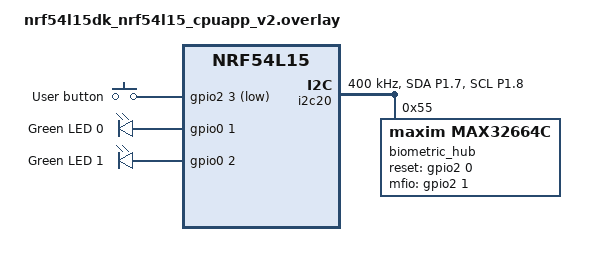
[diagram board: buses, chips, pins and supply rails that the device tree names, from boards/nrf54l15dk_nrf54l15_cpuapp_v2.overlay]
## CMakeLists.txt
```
cmake_minimum_required(VERSION 3.20.0)

file(GLOB_RECURSE files RELATIVE ${CMAKE_SOURCE_DIR} "patches/zephyr/*.patch")
foreach(file ${files})
    message("Checking patch ${file}")
    # Check if patch is already applied using dry-run
    execute_process(COMMAND
                    patch -p1 -d $ENV{ZEPHYR_BASE} -i ${CMAKE_CURRENT_SOURCE_DIR}/${file} --dry-run --reverse --force
                    RESULT_VARIABLE patch_applied
                    OUTPUT_QUIET
                    ERROR_QUIET)

    if(patch_applied EQUAL 0)
        message("Patch ${file} already applied, skipping")
    else()
        message("Applying patch ${file}")
        execute_process(COMMAND
                        patch -p1 -d $ENV{ZEPHYR_BASE} -i ${CMAKE_CURRENT_SOURCE_DIR}/${file} -r - --no-backup-if-mismatch)
    endif()
endforeach()

find_package(Zephyr REQUIRED HINTS $ENV{ZEPHYR_BASE})

project(HR)

target_include_directories(app PRIVATE drivers)
target_include_directories(app PRIVATE src/firmware)

add_subdirectory(drivers)

target_sources(app PRIVATE src/main.c)
```

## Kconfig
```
menu "Zephyr Kernel"
    source "Kconfig.zephyr"
endmenu

menu "ZSWatch-MAX32664C"
    menu "Custom drivers"
        rsource "drivers/Kconfig"
    endmenu
endmenu
```

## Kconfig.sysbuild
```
source "share/sysbuild/Kconfig"

config NRF_DEFAULT_IPC_RADIO
    default y

config NETCORE_IPC_RADIO_BT_HCI_IPC
    default y
```

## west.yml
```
manifest:
  self:
    west-commands: scripts/west-commands.yml

  remotes:
    - name: sdk
      url-base: https://github.com/nrfconnect

  projects:
    - name: sdk-nrf
      remote: sdk
      revision: v3.0.2
      path: nrf
      import:
        name-blocklist:
          - ci-tools
          - hal_altera
          - hal_cypress
          - hal_infineon
          - hal_microchip
          - hal_nxp
          - hal_openisa
          - hal_silabs
          - hal_xtensa
          - hal_ti
          - loramac-node
          - net-tools
          - edtt
          - trusted-firmware-m
          - sof
      clone-depth: 1

  self:
    west-commands: scripts/west-commands.yml
```

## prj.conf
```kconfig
CONFIG_CLOCK_CONTROL=y
CONFIG_CLOCK_CONTROL_NRF_K32SRC_RC=y

CONFIG_SENSOR=y

CONFIG_I2C=y

CONFIG_HEAP_MEM_POOL_SIZE=32768

CONFIG_BT=y
CONFIG_BT_SMP=y
CONFIG_BT_PERIPHERAL=y
CONFIG_BT_DIS=y
CONFIG_BT_DIS_PNP=n
CONFIG_BT_BAS=y
CONFIG_BT_HRS=y
CONFIG_BT_DEVICE_NAME="Zephyr Heartrate Sensor"
CONFIG_BT_DEVICE_APPEARANCE=833
CONFIG_BT_GATT_CLIENT=y
CONFIG_BT_BUF_ACL_TX_SIZE=251
CONFIG_BT_BUF_ACL_RX_SIZE=251
CONFIG_BT_L2CAP_TX_MTU=247
CONFIG_BT_DATA_LEN_UPDATE=y
CONFIG_BT_GATT_CACHING=y
CONFIG_BT_CTLR_TX_PWR_PLUS_7=y

CONFIG_SETTINGS=y
CONFIG_BT_SETTINGS=y
CONFIG_FLASH=y
CONFIG_FLASH_PAGE_LAYOUT=y
CONFIG_FLASH_MAP=y
CONFIG_ZMS=y
CONFIG_PM_PARTITION_SIZE_SETTINGS_STORAGE=0x8000

CONFIG_USE_SEGGER_RTT=y
CONFIG_LOG_BACKEND_RTT=y
CONFIG_LOG_BACKEND_RTT_MODE_BLOCK=y
CONFIG_LOG_BUFFER_SIZE=15000
CONFIG_LOG_BACKEND_BLE=y
CONFIG_LOG_PROCESS_THREAD_STACK_SIZE=2048
CONFIG_LOG_BACKEND_RTT_OUTPUT_BUFFER_SIZE=256

CONFIG_CONSOLE=y
CONFIG_UART_CONSOLE=n
CONFIG_SERIAL=n

CONFIG_LOG_PRINTK=y
CONFIG_LOG=y
CONFIG_LOG_BUFFER_SIZE=4096
CONFIG_LOG_INFO_COLOR_GREEN=y
CONFIG_DEBUG_OPTIMIZATIONS=y

CONFIG_SENSOR_LOG_LEVEL_DBG=y

CONFIG_MAX32664C_USE_STATIC_MEMORY=y
CONFIG_MAX32664C_USE_EXTENDED_REPORTS=y
CONFIG_MAX32664C_USE_FIRMWARE_LOADER=y
```

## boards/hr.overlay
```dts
/ {
    aliases {
        sensor = &biometric_hub;
    };
};

&i2c1 {
    compatible = "nordic,nrf-twim";
    status = "okay";
    clock-frequency = <400000>;
    zephyr,flash-buf-max-size = <8250>;
};

&i2c1 {
    biometric_hub: max32664c@55 {
        compatible = "maxim,max32664c";
        reg = <0x55>;
        status = "okay";
        reset-gpios = <&gpio0 8 GPIO_ACTIVE_HIGH>;
        mfio-gpios = <&gpio1 9 GPIO_ACTIVE_HIGH>;
        motion-time = <200>;
        motion-threshold = <500>;
        hr-config = [00 11];
        spo2-config = [10 20];
    };
};
```

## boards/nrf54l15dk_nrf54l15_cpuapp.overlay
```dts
&pinctrl {
	i2c30_default: i2c30_default {
		group1 {
			psels = <NRF_PSEL(TWIM_SDA, 0, 4)>,
					<NRF_PSEL(TWIM_SCL, 0, 3)>;
					bias-pull-up;
		};
	};

	i2c30_sleep: i2c30_sleep {
		group1 {
			psels = <NRF_PSEL(TWIM_SDA, 0, 4)>,
					<NRF_PSEL(TWIM_SCL, 0, 3)>;
					low-power-enable;
		};
	};
};

/ {
	aliases {
		sensor = &biometric_hub;
	};
};

&led0 {
	gpios = <&gpio2 6 GPIO_ACTIVE_HIGH>;
		label = "Green LED 0";
};


&i2c30 {
	compatible = "nordic,nrf-twim";
	status = "okay";
	clock-frequency = <I2C_BITRATE_FAST>;

	// Flash buffer size is needed for the I2C bootloader to flash the firmware
	zephyr,flash-buf-max-size = <8250>;

	pinctrl-0 = <&i2c30_default>;
	pinctrl-1 = <&i2c30_sleep>;
	pinctrl-names = "default", "sleep";

	biometric_hub: max32664c@55 {
		compatible = "maxim,max32664c";
		reg = <0x55>;
		status = "okay";
		reset-gpios = <&gpio2 0 GPIO_ACTIVE_HIGH>;
		mfio-gpios = <&gpio2 1 GPIO_ACTIVE_HIGH>;
		hr-config = [00 11];
		spo2-config = [10 20];
		led-current = [3F 3F 3F];
		use-max86141;
	};
};

&dppic10 {
	status = "okay";
};

&ppib11 {
	status = "okay";
};

&ppib21 {
	status = "okay";
};

&dppic20 {
	status = "okay";
};

&ppib22 {
	status = "okay";
};

&ppib30 {
	status = "okay";
};

&dppic30 {
	status = "okay";
};
```

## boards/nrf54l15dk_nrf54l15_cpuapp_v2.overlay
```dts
&pinctrl {
	i2c20_default: i2c20_default {
		group1 {
			psels = <NRF_PSEL(TWIM_SDA, 1, 7)>,
					<NRF_PSEL(TWIM_SCL, 1, 8)>;
					bias-pull-up;
		};
	};

	i2c20_sleep: i2c20_sleep {
		group1 {
			psels = <NRF_PSEL(TWIM_SDA, 1, 7)>,
					<NRF_PSEL(TWIM_SCL, 1, 8)>;
					low-power-enable;
		};
	};
};

/ {
	aliases {
		sensor = &biometric_hub;
		sw0 = &button0;
	};

	buttons {
		compatible = "gpio-keys";
		button0: button_0 {
			gpios = <&gpio2 3 (GPIO_PULL_UP | GPIO_ACTIVE_LOW)>;
			label = "User button";
		};
	};
};

&led0 {
	gpios = <&gpio0 1 GPIO_ACTIVE_HIGH>;
		label = "Green LED 0";
};

&led1 {
	gpios = <&gpio0 2 GPIO_ACTIVE_HIGH>;
		label = "Green LED 1";
};

&i2c30 {
	status = "disabled";
};


&i2c20 {
	compatible = "nordic,nrf-twim";
	status = "okay";
	clock-frequency = <I2C_BITRATE_FAST>;

	// Flash buffer size is needed for the I2C bootloader to flash the firmware
	zephyr,flash-buf-max-size = <8250>;

	pinctrl-0 = <&i2c20_default>;
	pinctrl-1 = <&i2c20_sleep>;
	pinctrl-names = "default", "sleep";

	biometric_hub: max32664c@55 {
		compatible = "maxim,max32664c";
		reg = <0x55>;
		status = "okay";
		reset-gpios = <&gpio2 0 GPIO_ACTIVE_HIGH>;
		mfio-gpios = <&gpio2 1 GPIO_ACTIVE_HIGH>;
		hr-config = [00 01];
		spo2-config = [11 21];
		led-current = [1F 1F 1F];
		use-max86141;
	};
};
```

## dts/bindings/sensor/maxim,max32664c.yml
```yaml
description: |
  The MAX32664 is a ultra-low power biometric sensor hub.

  NOTES:
  This driver is primarily written to work with a MAX86141. Other sensors can be
  used but they are untested! The driver supports up to two photodetectors (PDs)
  and three LEDs fix. It requires a specific LED
  configuration for the MAX86141.
    LED1 -> Green
    LED2 -> IR
    LED3 -> Red
  The LEDs can be changed manually but this may require changes in the driver.

  This driver is tested with Sensor Hub firmware 30.13.31 and an external
  Accelerometer (e.g. LIS2DH12).

  See more info at:
  https://www.analog.com/media/en/technical-documentation/data-sheets/MAX32664.pdf

compatible: "maxim,max32664c"

include: [sensor-device.yaml, i2c-device.yaml]

properties:
  reset-gpios:
    type: phandle-array
    required: true
    description:
      External System Reset (Active-Low) Input.

  mfio-gpios:
    type: phandle-array
    required: true
    description:
      MFIO asserts low as an output when the sensor hub needs to
      communication with the host; MFIO acts as an input and when held
      low during a reset, the sensor hub enters bootloader mode.

  motion-time:
    type: int
    default: 200
    description:
      Sensor Hub configuration - Motion activation time in milliseconds.
      The default corresponds to Table 12 in the HR and SpO2 User guide.

  motion-threshold:
    type: int
    default: 500
    description:
      Sensor Hub configuration - Motion activation time in milli-g.
      The default corresponds to Table 12 in the HR and SpO2 User guide.

  spo2-calib:
    type: array
    default: [0xFFE69196, 0x000CB735, 0x00989680]
    description:
      Algorithm configuration - SpO2 calibration coefficients.
      The default corresponds to Table 12 in the HR and SpO2 User guide.

  min-integration-time:
    type: int
    default: 14
    enum:
      - 14
      - 29
      - 58
      - 117
    description:
      Algorithm configuration - Minimum integration time in microseconds.
      The default corresponds to Table 11 in the HR and SpO2 User guide.

  min-sampling-rate:
    type: int
    default: 50
    enum:
      - 25
      - 50
      - 100
      - 200
      - 400
    description:
      Algorithm configuration - Minimum sampling rate (samples per second)
      and averaging (samples).
      The default corresponds to Table 11 in the HR and SpO2 User guide.

  max-integration-time:
    type: int
    default: 117
    enum:
      - 14
      - 29
      - 58
      - 117
    description:
      Algorithm configuration - Maximum integration time in microseconds.
      The default corresponds to Table 11 in the HR and SpO2 User guide.

  max-sampling-rate:
    type: int
    default: 100
    enum:
      - 25
      - 50
      - 100
      - 200
      - 400
    description:
      Algorithm configuration - Maximum sampling rate (samples per second)
      and averaging (samples).
      The default corresponds to Table 11 in the HR and SpO2 User guide.

  use-max86141:
    type: boolean
    description:
      Use the MAX86141 as the AFE for the MAX32664C. This is the
      default and recommended configuration. The driver is optimized for
      this sensor..

  use-max86161:
    type: boolean
    description:
      Use the MAX86161 as the AFE for the MAX32664C.

  use-skin-contact-detection:
    type: boolean
    description:
      Enable skin contact detection. If enabled, the sensor will only
      report data when skin contact is detected. This is useful to
      prevent false readings when the sensor is not in contact with the skin.

  led-current:
    type: uint8-array
    default: [0x7F, 0x7F, 0x7F]
    description:
      Initial LED current configuration in bits. Please check the datasheet
      of the attached AFE to determine the appropriate values.
      The current can also be changed later by the firmware.
      Index 0 corresponds to LED1, index 1 to LED2, and index 2 to LED3.
      The default corresponds to Table 5 in the HR and SpO2 User guide.

  hr-config:
    type: uint8-array
    default: [0x00, 0x01]
    description:
      Algorithm configuration - LED and PD configuration for the heartrate measurement.
      The first entry configures channel 1, the second channel 2.
      The default corresponds to Table 15 in the HR and SpO2 User guide.

  spo2-config:
    type: uint8-array
    default: [0x10, 0x20]
    description:
      Algorithm configuration - LED and PD configuration for the SpO2 measurement.
      The first entry configures the IR channel, the second the red channel.
      The default corresponds to Table 15 in the HR and SpO2 User guide.
```

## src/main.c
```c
/*
* Copyright (c) 2025, Daniel Kampert
*
* This example demonstrates the use of the MAX32664C sensor hub with Zephyr.
* It includes Bluetooth Low Energy (BLE) services for heart rate and battery
* monitoring.
*
* SPDX-License-Identifier: Apache-2.0
*/

#include <zephyr/kernel.h>
#include <zephyr/devicetree.h>
#include <zephyr/logging/log.h>
#include <zephyr/drivers/gpio.h>
#include <zephyr/drivers/sensor.h>

#include <zephyr/bluetooth/bluetooth.h>
#include <zephyr/bluetooth/hci.h>
#include <zephyr/bluetooth/conn.h>
#include <zephyr/bluetooth/uuid.h>
#include <zephyr/bluetooth/gatt.h>
#include <zephyr/bluetooth/services/bas.h>
#include <zephyr/bluetooth/services/hrs.h>

#include <zephyr/settings/settings.h>

#include "sensor/max32664c.h"

#define LOG_DATA_FOR_PLOTTING 0

#ifdef CONFIG_MAX32664C_USE_FIRMWARE_LOADER
#define FW_VERSION_MAJOR 30
#define FW_VERSION_MINOR 13
#define FW_VERSION_PATCH 31
#include "firmware/MAX32664C_HSP2_WHRM_AEC_SCD_WSPO2_C_30_13_31.h"
#endif

#define BLE_CONNECTED               1U
#define BLE_DISCONNECTED            2U

static void auth_cancel(struct bt_conn *conn);
static void hrs_ntf_changed(bool enabled);
static void connected(struct bt_conn *conn, uint8_t err);
static void disconnected(struct bt_conn *conn, uint8_t reason);
static void recycled(void);
static int mtu_exchange(struct bt_conn *conn);

static ATOMIC_DEFINE(state, 2U);
static bool hrf_ntf_enabled;

static const struct bt_data ad[] = {
    BT_DATA_BYTES(BT_DATA_FLAGS, (BT_LE_AD_GENERAL | BT_LE_AD_NO_BREDR)),
    BT_DATA_BYTES(BT_DATA_UUID16_ALL,
                BT_UUID_16_ENCODE(BT_UUID_HRS_VAL),
                BT_UUID_16_ENCODE(BT_UUID_BAS_VAL),
                BT_UUID_16_ENCODE(BT_UUID_DIS_VAL)),
};

static struct bt_conn_auth_cb auth_cb_display = {
    .cancel = auth_cancel,
};

static struct bt_hrs_cb hrs_cb = {
    .ntf_changed = hrs_ntf_changed,
};

struct bt_le_adv_param adv_param = {
    .options = BT_LE_ADV_OPT_CONN | BT_LE_ADV_OPT_USE_NAME,
    .interval_min = BT_GAP_ADV_SLOW_INT_MIN,
    .interval_max = BT_GAP_ADV_SLOW_INT_MAX,
};

static const struct device *const sensor_hub = DEVICE_DT_GET_OR_NULL(DT_ALIAS(sensor));
static const struct gpio_dt_spec led_en = GPIO_DT_SPEC_GET(DT_ALIAS(led0), gpios);
static const struct gpio_dt_spec led_green = GPIO_DT_SPEC_GET(DT_ALIAS(led1), gpios);
static const struct gpio_dt_spec button = GPIO_DT_SPEC_GET(DT_ALIAS(sw0), gpios);
static bool button_last_state = false;

BT_CONN_CB_DEFINE(conn_callbacks) = {
    .connected = connected,
    .disconnected = disconnected,
    .recycled = recycled
};

LOG_MODULE_REGISTER(main, LOG_LEVEL_DBG);

void auth_cancel(struct bt_conn *conn)
{
    char addr[BT_ADDR_LE_STR_LEN];

    bt_addr_le_to_str(bt_conn_get_dst(conn), addr, sizeof(addr));

    LOG_INF("Pairing cancelled: %s", addr);
}

void hrs_ntf_changed(bool enabled)
{
    hrf_ntf_enabled = enabled;

    LOG_INF("HRS notification status changed: %s\n", enabled ? "enabled" : "disabled");
}

static void connected(struct bt_conn *conn, uint8_t err)
{
    if (err) {
        LOG_ERR("Connection failed, err 0x%02x %s", err, bt_hci_err_to_str(err));
    } else {
        LOG_INF("Connected");
        mtu_exchange(conn);
        atomic_set_bit(state, BLE_CONNECTED);
    }
}

static void disconnected(struct bt_conn *conn, uint8_t reason)
{
    LOG_INF("Disconnected, reason 0x%02x %s", reason, bt_hci_err_to_str(reason));

    atomic_set_bit(state, BLE_DISCONNECTED);
}

static void recycled(void)
{
    LOG_INF("Connection recycled");
    LOG_INF("Starting Legacy Advertising (connectable and scannable)");
    int err = bt_le_adv_start(&adv_param, ad, ARRAY_SIZE(ad), NULL, 0);
    if (err) {
        LOG_ERR("Advertising failed to start! %i", err);
        return;
    }
    LOG_INF("Advertising successfully started");
}

static void hrs_notify(void)
{
    struct sensor_value value;

    sensor_sample_fetch(sensor_hub);
    sensor_attr_get(sensor_hub, SENSOR_CHAN_MAX32664C_HEARTRATE, SENSOR_ATTR_MAX32664C_OP_MODE, &value);

#if LOG_DATA_FOR_PLOTTING
    LOG_PRINTK("TS,%d,ms;", k_uptime_get_32());
#endif
    if ((value.val1 == MAX32664C_OP_MODE_RAW) || (value.val1 == MAX32664C_OP_MODE_ALGO_AEC_EXT) || (value.val1 == MAX32664C_OP_MODE_ALGO_AGC_EXT)) {
        struct sensor_value x;
        struct sensor_value y;
        struct sensor_value z;
        struct sensor_value green;
        struct sensor_value ir;
        struct sensor_value red;

        sensor_channel_get(sensor_hub, SENSOR_CHAN_GREEN, &green);
        sensor_channel_get(sensor_hub, SENSOR_CHAN_IR, &ir);
        sensor_channel_get(sensor_hub, SENSOR_CHAN_RED, &red);
        sensor_channel_get(sensor_hub, SENSOR_CHAN_ACCEL_X, &x);
        sensor_channel_get(sensor_hub, SENSOR_CHAN_ACCEL_Y, &y);
        sensor_channel_get(sensor_hub, SENSOR_CHAN_ACCEL_Z, &z);

#ifdef LOG_DATA_FOR_PLOTTING
    // Output format:
    // GREEN1,<value>,;GREEN2,<value>,;IR1,<value>,;IR2,<value>,;RED1,<value>,;RED2,<value>,;X,<value>,;Y,<value>,;Z,<value>,
    LOG_PRINTK(
        "GREEN1,%i,;GREEN2,%i,;IR1,%i,;IR2,%i,;RED1,%i,;RED2,%i,;X,%i,;Y,%i,;Z,%i;",
        green.val1, green.val2,
        ir.val1, ir.val2,
        red.val1, red.val2,
        x.val1, y.val1, z.val1
    );
#else
    LOG_DBG("\tGreen: %i", green.val1);
    LOG_DBG("\tIR: %i", ir.val1);
    LOG_DBG("\tRed: %i", red.val1);
    LOG_INF("\tx: %i", x.val1);
    LOG_INF("\ty: %i", y.val1);
    LOG_INF("\tz: %i", z.val1);
#endif
    }

    if ((value.val1 == MAX32664C_OP_MODE_ALGO_AEC) || (value.val1 == MAX32664C_OP_MODE_ALGO_AGC)) {
        struct sensor_value hr;
        struct sensor_value blood_oxygen;

        sensor_channel_get(sensor_hub, SENSOR_CHAN_MAX32664C_HEARTRATE, &hr);
        sensor_channel_get(sensor_hub, SENSOR_CHAN_MAX32664C_BLOOD_OXYGEN_SATURATION, &blood_oxygen);

        LOG_INF("HR: %u bpm (Confidence: %u)", hr.val1, hr.val2);
        LOG_INF("SpO2: %u %% (Confidence: %u)", blood_oxygen.val1, sensor_max32664c_value_to_confidence(&blood_oxygen));

        if (hrf_ntf_enabled) {
            bt_hrs_notify(hr.val1);
        }
    }

    if ((value.val1 == MAX32664C_OP_MODE_ALGO_AEC_EXT) || (value.val1 == MAX32664C_OP_MODE_ALGO_AGC_EXT)) {
        struct sensor_value hr;
        struct sensor_value rr;
        struct sensor_value skin_contact;
        struct sensor_value activity;
        struct sensor_value blood_oxygen;

        sensor_channel_get(sensor_hub, SENSOR_CHAN_MAX32664C_HEARTRATE, &hr);
        sensor_channel_get(sensor_hub, SENSOR_CHAN_MAX32664C_RESPIRATION_RATE, &rr);
        sensor_channel_get(sensor_hub, SENSOR_CHAN_MAX32664C_SKIN_CONTACT, &skin_contact);
        sensor_channel_get(sensor_hub, SENSOR_CHAN_MAX32664C_ACTIVITY, &activity);
        sensor_channel_get(sensor_hub, SENSOR_CHAN_MAX32664C_BLOOD_OXYGEN_SATURATION, &blood_oxygen);

#ifdef LOG_DATA_FOR_PLOTTING
        //   Output format
        //  HR,<value>,bpm;Conf,<value>;,RR,<value>;ms,SC,<value>;,Activity,<value>;,SpO2,<value>;%,Conf,<value>;,
        LOG_PRINTK("HR,%u,bpm;"
                "HR_Conf,%u,;"
                "RR,%u,ms;"
                "RR_Conf,%u,;"
                "SC,%u,;"
                "Activity,%u,;"
                "SpO2,%u,%%;"
                "SpO2_Conf,%u;",
            hr.val1, hr.val2, rr.val1, rr.val2, skin_contact.val1, activity.val1, blood_oxygen.val1, blood_oxygen.val2);
#else
        LOG_INF("HR: %u bpm (Confidence: %u)", hr.val1, hr.val2);
        LOG_INF("SpO2: %u %% (Confidence: %u)", blood_oxygen.val1, sensor_max32664c_value_to_confidence(&blood_oxygen));
#endif

        if (hrf_ntf_enabled) {
            bt_hrs_notify(hr.val1);
        }
    }

#ifdef LOG_DATA_FOR_PLOTTING
    LOG_PRINTK("\n");
#endif
}

static void mtu_exchange_cb(struct bt_conn *conn, uint8_t err,
			    struct bt_gatt_exchange_params *params)
{
	LOG_INF("%s: MTU exchange %s (%u)\n", __func__,
	       err == 0U ? "successful" : "failed",
	       bt_gatt_get_mtu(conn));
}

static struct bt_gatt_exchange_params mtu_exchange_params = {
	.func = mtu_exchange_cb
};

static int mtu_exchange(struct bt_conn *conn)
{
	int err;

	LOG_INF("%s: Current MTU = %u\n", __func__, bt_gatt_get_mtu(conn));
	LOG_INF("%s: Exchange MTU...\n", __func__);

	err = bt_gatt_exchange_mtu(conn, &mtu_exchange_params);
	if (err) {
		LOG_ERR("%s: MTU exchange failed (err %d)", __func__, err);
	}

	return err;
}

static void check_button(void)
{
    bool current_state = gpio_pin_get_dt(&button) == 0;

    if (current_state && !button_last_state) {
        LOG_INF("Button pressed!");
    }

    button_last_state = current_state;
}

int main(void)
{
    int32_t err;
    struct sensor_value value;

    if (!device_is_ready(sensor_hub)) {
        LOG_ERR("Sensor hub not ready!");
    } else {
        LOG_INF("Sensor hub ready");
    }

    if (!gpio_is_ready_dt(&led_en)) {
        return 0;
    }

    if (!gpio_is_ready_dt(&led_green)) {
        return 0;
    }

    if (gpio_pin_configure_dt(&led_en, GPIO_OUTPUT_ACTIVE)) {
        return 0;
    }

    if (gpio_pin_configure_dt(&led_green, GPIO_OUTPUT_ACTIVE)) {
        return 0;
    }

    gpio_pin_set_dt(&led_en, 1);
    gpio_pin_set_dt(&led_green, 0);

    // Configure button
    if (!gpio_is_ready_dt(&button)) {
        LOG_ERR("Button device not ready!");
        return 0;
    }

    err = gpio_pin_configure_dt(&button, GPIO_INPUT);
    if (err) {
        LOG_ERR("Failed to configure button pin: %d", err);
        return 0;
    }

    LOG_INF("Button configured on P2.03 (polling mode)");

#ifdef CONFIG_MAX32664C_USE_FIRMWARE_LOADER
    uint8_t major, minor, patch;
    err = max32664c_read_fw_version(sensor_hub, &major, &minor, &patch);
    if (err || major != FW_VERSION_MAJOR || minor != FW_VERSION_MINOR || patch != FW_VERSION_PATCH) {
        if (err) {
            LOG_ERR("Failed to read firmware version");
        }
        LOG_DBG("Updating firmware to version %u.%u.%u", FW_VERSION_MAJOR, FW_VERSION_MINOR, FW_VERSION_PATCH);
        max32664c_bl_enter(sensor_hub, MAX32664C_HSP2_WHRM_AEC_SCD_WSPO2_C_30_13_31, sizeof(MAX32664C_HSP2_WHRM_AEC_SCD_WSPO2_C_30_13_31));
        max32664c_bl_leave(sensor_hub);

        return 0;
    } else {
        LOG_INF("Firmware up to date: %u.%u.%u", major, minor, patch);
    }
#endif /* CONFIG_MAX32664C_USE_FIRMWARE_LOADER */

    if (bt_enable(NULL)) {
        LOG_ERR("Bluetooth init failed!");
        return 0;
    }

    settings_load();

    if (gpio_pin_get_dt(&button) == 1) {
        LOG_WRN("Button pressed during startup - clearing all bonded devices!");

        err = bt_unpair(BT_ID_DEFAULT, NULL);
        if (err) {
            LOG_ERR("Failed to clear bonded devices: %d", err);
        } else {
            LOG_INF("All bonded devices cleared successfully!");
        }
    }

    bt_conn_auth_cb_register(&auth_cb_display);
    bt_hrs_cb_register(&hrs_cb);

    LOG_INF("Starting Legacy Advertising (connectable and scannable)");
    err = bt_le_adv_start(&adv_param, ad, ARRAY_SIZE(ad), NULL, 0);
    if (err) {
        LOG_ERR("Advertising failed to start! %i", err);
        return 0;
    }
    LOG_INF("Advertising successfully started");

    //value.val1 = MAX32664C_OP_MODE_RAW;
#ifdef CONFIG_MAX32664C_USE_EXTENDED_REPORTS
    value.val1 = MAX32664C_OP_MODE_ALGO_AEC_EXT;
#else
    value.val1 = MAX32664C_OP_MODE_ALGO_AEC;
#endif
    value.val2 = MAX32664C_ALGO_MODE_CONT_HR_CONT_SPO2;
    sensor_attr_set(sensor_hub, SENSOR_CHAN_MAX32664C_HEARTRATE, SENSOR_ATTR_MAX32664C_OP_MODE, &value);

    int i = 0;
    while (1)
    {
        // Poll button every 100ms (every 10 iterations)
        if (i % 10 == 0) {
            check_button();
        }

#if LOG_DATA_FOR_PLOTTING
        // Output data every 10ms (100Hz) for plotting
        hrs_notify();
#else
        // Output data every second (every 100 iterations)
        if (i % 100 == 0) {
            hrs_notify();
        }
#endif

        if (atomic_test_bit(state, BLE_CONNECTED)) {
            LOG_INF("Connected!");
        }

        if (atomic_test_and_clear_bit(state, BLE_CONNECTED)) {
        } else if (atomic_test_and_clear_bit(state, BLE_DISCONNECTED)) {
        }

        // Blink LED every 5 seconds (every 500 iterations)
        if (i % 500 == 0) {
            gpio_pin_toggle_dt(&led_green);
            k_msleep(100);
            gpio_pin_toggle_dt(&led_green);
        }
        i++;

        k_msleep(10);
    }

    return 0;
}
```
